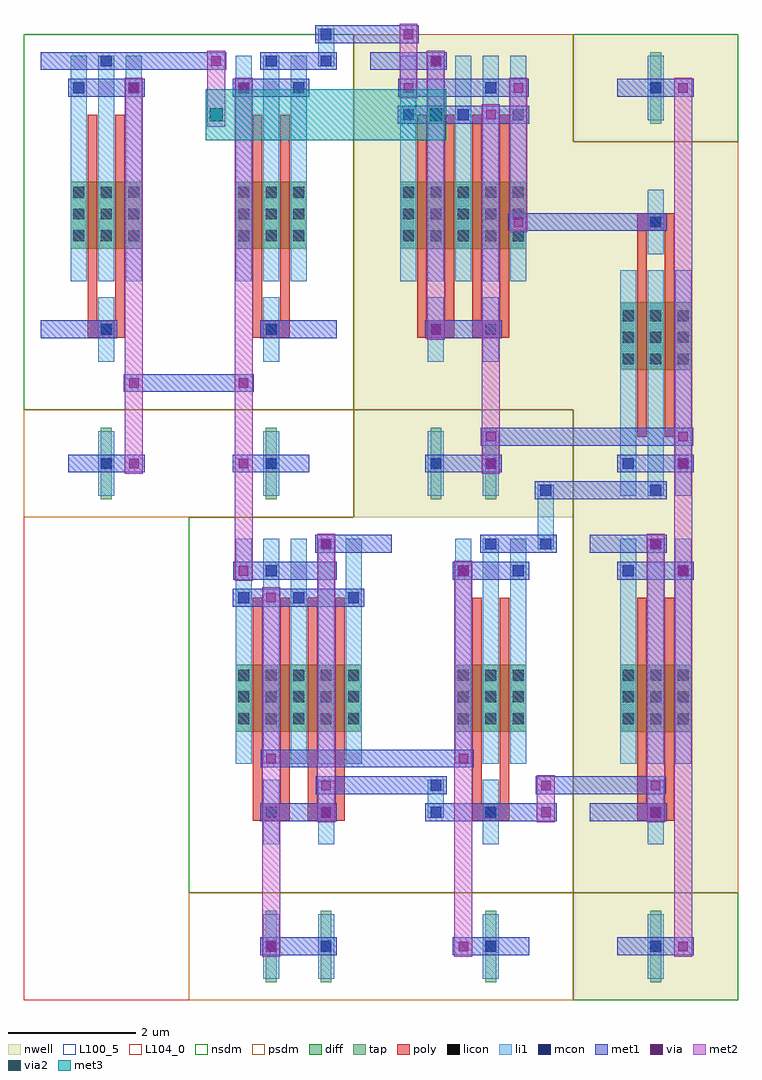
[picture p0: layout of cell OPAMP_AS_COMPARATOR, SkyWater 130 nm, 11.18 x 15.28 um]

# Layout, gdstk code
import gdstk
lib = gdstk.Library(unit=1e-6, precision=1e-09)
def R(c, l, rs):  # rectangles x0, y0, x1, y1
    for r in rs: c.add(gdstk.rectangle(r[:2], r[2:], *l))
def A(c, l, x, y, w, h, nx, ny, dx, dy):  # array of equal rectangles
    R(c, l, [(x+i*dx, y+j*dy, x+i*dx+w, y+j*dy+h) for i in range(nx) for j in range(ny)])
nwell = (64, 20)
diff = (65, 20)
tap = (65, 44)
poly = (66, 20)
licon = (66, 44)
li1 = (67, 20)
mcon = (67, 44)
met1 = (68, 20)
via = (68, 44)
met2 = (69, 20)
via2 = (69, 44)
met3 = (70, 20)
nsdm = (93, 44)
psdm = (94, 20)
L100_5 = (100, 5)
L104_0 = (104, 0)

opamp_as_comparator = lib.new_cell('OPAMP_AS_COMPARATOR')
R(opamp_as_comparator, nwell, [(8.6,0,11.18,7.56), (5.16,7.56,8.6,15.12), (8.6,7.56,11.18,15.12)])
R(opamp_as_comparator, diff, [(3.315,4.2,5.285,5.25), (6.755,4.2,7.865,5.25), (9.335,4.2,10.445,5.25), (9.335,9.87,10.445,10.92), (0.735,11.76,1.845,12.81), (3.315,11.76,4.425,12.81), (5.895,11.76,7.865,12.81)])
A(opamp_as_comparator, tap, 4.645, 0.28, 0.17, 1.12, 3, 1, 2.58, 0)
A(opamp_as_comparator, tap, 1.205, 7.84, 0.17, 1.12, 3, 1, 2.58, 0)
R(opamp_as_comparator, tap, [(3.785,0.28,3.955,1.4), (7.225,7.84,7.395,8.96), (9.805,13.72,9.975,14.84)])
A(opamp_as_comparator, poly, 4.44, 2.805, 0.58, 0.27, 3, 1, 2.58, 0)
A(opamp_as_comparator, poly, 3.58, 2.94, 0.15, 3.36, 4, 1, 0.43, 0)
A(opamp_as_comparator, poly, 1, 10.365, 0.58, 0.27, 3, 1, 2.58, 0)
A(opamp_as_comparator, poly, 6.16, 10.5, 0.15, 3.36, 4, 1, 0.43, 0)
R(opamp_as_comparator, poly, [(3.58,2.805,4.16,3.075), (7.02,2.94,7.17,6.3), (7.45,2.94,7.6,6.3), (9.6,2.94,9.75,6.3), (10.03,2.94,10.18,6.3), (9.6,8.82,9.75,12.18), (10.03,8.82,10.18,12.18), (7.02,10.365,7.6,10.635), (1,10.5,1.15,13.86), (1.43,10.5,1.58,13.86), (3.58,10.5,3.73,13.86), (4.01,10.5,4.16,13.86), (9.6,12.045,10.18,12.315)])
A(opamp_as_comparator, licon, 4.645, 0.755, 0.17, 0.17, 3, 2, 2.58, 2.1)
A(opamp_as_comparator, licon, 3.355, 4.32, 0.17, 0.17, 3, 3, 0.43, 0.34)
A(opamp_as_comparator, licon, 4.215, 4.32, 0.17, 0.17, 3, 3, 0.43, 0.34)
A(opamp_as_comparator, licon, 6.795, 4.32, 0.17, 0.17, 3, 3, 0.43, 0.34)
A(opamp_as_comparator, licon, 9.375, 4.32, 0.17, 0.17, 3, 3, 0.43, 0.34)
A(opamp_as_comparator, licon, 1.205, 8.315, 0.17, 0.17, 3, 2, 2.58, 2.1)
A(opamp_as_comparator, licon, 9.375, 9.95, 0.17, 0.17, 3, 3, 0.43, 0.34)
A(opamp_as_comparator, licon, 0.775, 11.88, 0.17, 0.17, 3, 3, 0.43, 0.34)
A(opamp_as_comparator, licon, 3.355, 11.88, 0.17, 0.17, 3, 3, 0.43, 0.34)
A(opamp_as_comparator, licon, 5.935, 11.88, 0.17, 0.17, 3, 3, 0.43, 0.34)
A(opamp_as_comparator, licon, 6.795, 11.88, 0.17, 0.17, 3, 3, 0.43, 0.34)
R(opamp_as_comparator, licon, [(3.785,0.755,3.955,0.925), (3.785,2.855,3.955,3.025), (7.225,8.315,7.395,8.485), (7.225,10.415,7.395,10.585), (9.805,12.095,9.975,12.265), (9.805,14.195,9.975,14.365)])
A(opamp_as_comparator, li1, 4.605, 0.335, 0.25, 1.01, 3, 2, 2.58, 2.1)
A(opamp_as_comparator, li1, 3.315, 3.695, 0.25, 3.53, 5, 1, 0.43, 0)
A(opamp_as_comparator, li1, 6.755, 3.695, 0.25, 3.53, 3, 1, 0.43, 0)
A(opamp_as_comparator, li1, 9.335, 3.695, 0.25, 3.53, 3, 2, 0.43, 4.2)
A(opamp_as_comparator, li1, 1.165, 7.895, 0.25, 1.01, 3, 2, 2.58, 2.1)
A(opamp_as_comparator, li1, 0.735, 11.255, 0.25, 3.53, 3, 1, 0.43, 0)
A(opamp_as_comparator, li1, 3.315, 11.255, 0.25, 3.53, 3, 1, 0.43, 0)
A(opamp_as_comparator, li1, 5.895, 11.255, 0.25, 3.53, 5, 1, 0.43, 0)
R(opamp_as_comparator, li1, [(3.745,0.335,3.995,1.345), (3.745,2.435,3.995,3.445), (6.325,2.855,6.575,3.445), (8.045,7.055,8.295,8.065), (7.185,7.895,7.435,8.905), (7.185,9.995,7.435,11.005), (9.765,11.675,10.015,12.685), (9.765,13.775,10.015,14.785), (4.605,14.615,4.855,15.205)])
A(opamp_as_comparator, mcon, 4.645, 0.755, 0.17, 0.17, 3, 1, 2.58, 0)
A(opamp_as_comparator, mcon, 3.355, 6.215, 0.17, 0.17, 3, 1, 0.86, 0)
A(opamp_as_comparator, mcon, 1.205, 8.315, 0.17, 0.17, 3, 2, 2.58, 2.1)
A(opamp_as_comparator, mcon, 5.935, 13.775, 0.17, 0.17, 3, 1, 0.86, 0)
R(opamp_as_comparator, mcon, [(3.785,0.755,3.955,0.925), (3.785,2.855,3.955,3.025), (4.645,2.855,4.815,3.025), (6.365,2.855,6.535,3.025), (7.225,2.855,7.395,3.025), (9.805,2.855,9.975,3.025), (6.365,3.275,6.535,3.445), (3.785,6.635,3.955,6.805), (6.795,6.635,6.965,6.805), (7.655,6.635,7.825,6.805), (9.375,6.635,9.545,6.805), (10.235,6.635,10.405,6.805), (4.645,7.055,4.815,7.225), (7.225,7.055,7.395,7.225), (8.085,7.055,8.255,7.225), (9.805,7.055,9.975,7.225), (8.085,7.895,8.255,8.065), (9.805,7.895,9.975,8.065), (7.225,8.315,7.395,8.485), (9.375,8.315,9.545,8.485), (10.235,8.315,10.405,8.485), (7.225,10.415,7.395,10.585), (9.805,12.095,9.975,12.265), (0.775,14.195,0.945,14.365), (1.635,14.195,1.805,14.365), (3.355,14.195,3.525,14.365), (4.215,14.195,4.385,14.365), (7.225,14.195,7.395,14.365), (9.805,14.195,9.975,14.365), (1.205,14.615,1.375,14.785), (3.785,14.615,3.955,14.785), (4.645,14.615,4.815,14.785), (6.365,14.615,6.535,14.785), (4.645,15.035,4.815,15.205)])
A(opamp_as_comparator, met1, 3.27, 8.26, 1.2, 0.28, 3, 1, 3.01, 0)
R(opamp_as_comparator, met1, [(3.7,0.7,4.9,0.98), (6.71,0.7,7.91,0.98), (9.29,0.7,10.49,0.98), (3.7,2.8,4.9,3.08), (6.28,2.8,8.34,3.08), (8.86,2.8,10.06,3.08), (4.57,3.22,6.62,3.5), (8.01,3.22,10.05,3.5), (3.71,3.64,7.04,3.92), (3.27,6.16,5.33,6.44), (3.28,6.58,4.9,6.86), (6.71,6.58,7.91,6.86), (9.29,6.58,10.49,6.86), (4.56,7,5.76,7.28), (7.14,7,8.34,7.28), (8.86,7,10.06,7.28), (8,7.84,10.06,8.12), (0.69,8.26,1.89,8.54), (7.15,8.68,10.48,8.96), (1.56,9.52,3.6,9.8), (0.26,10.36,1.46,10.64), (3.7,10.36,4.9,10.64), (6.28,10.36,7.48,10.64), (7.58,12.04,10.06,12.32), (5.85,13.72,7.91,14), (0.69,14.14,1.89,14.42), (3.27,14.14,4.47,14.42), (5.86,14.14,7.9,14.42), (9.29,14.14,10.49,14.42), (0.26,14.56,3.17,14.84), (3.7,14.56,4.9,14.84), (5.42,14.56,6.62,14.84), (4.56,14.98,6.18,15.26)])
A(opamp_as_comparator, via, 3.365, 6.645, 0.15, 0.15, 3, 1, 3.44, 0)
R(opamp_as_comparator, via, [(3.795,0.765,3.945,0.915), (6.805,0.765,6.955,0.915), (10.245,0.765,10.395,0.915), (4.655,2.865,4.805,3.015), (8.095,2.865,8.245,3.015), (9.815,2.865,9.965,3.015), (4.655,3.285,4.805,3.435), (8.095,3.285,8.245,3.435), (9.815,3.285,9.965,3.435), (3.795,3.705,3.945,3.855), (6.805,3.705,6.955,3.855), (3.795,6.225,3.945,6.375), (4.655,7.065,4.805,7.215), (9.815,7.065,9.965,7.215), (1.645,8.325,1.795,8.475), (3.365,8.325,3.515,8.475), (7.235,8.325,7.385,8.475), (10.245,8.325,10.395,8.475), (7.235,8.745,7.385,8.895), (10.245,8.745,10.395,8.895), (1.645,9.585,1.795,9.735), (3.365,9.585,3.515,9.735), (6.375,10.425,6.525,10.575), (7.665,12.105,7.815,12.255), (7.235,13.785,7.385,13.935), (1.645,14.205,1.795,14.355), (3.365,14.205,3.515,14.355), (5.945,14.205,6.095,14.355), (7.665,14.205,7.815,14.355), (10.245,14.205,10.395,14.355), (2.935,14.625,3.085,14.775), (6.375,14.625,6.525,14.775), (5.945,15.045,6.095,15.195)])
R(opamp_as_comparator, met2, [(3.73,0.68,4.01,6.46), (6.74,0.68,7.02,6.88), (10.18,0.68,10.46,14.44), (4.59,2.78,4.87,7.3), (8.03,2.78,8.31,3.52), (9.75,2.78,10.03,7.3), (3.3,6.56,3.58,14.44), (1.58,8.24,1.86,14.44), (7.17,8.24,7.45,14.02), (6.31,10.34,6.59,14.86), (7.6,12.02,7.88,14.44), (2.87,13.675,3.15,14.86), (5.88,14.12,6.16,15.28)])
R(opamp_as_comparator, via2, [(2.91,13.76,3.11,13.96), (6.35,13.76,6.55,13.96)])
R(opamp_as_comparator, met3, [(2.845,13.46,6.615,14.26)])
R(opamp_as_comparator, nsdm, [(8.6,0,11.18,1.68), (2.58,1.68,6.02,7.56), (6.02,1.68,8.6,7.56), (5.16,7.56,8.6,9.24), (0,9.24,2.58,15.12), (2.58,9.24,5.16,15.12), (8.6,13.44,11.18,15.12)])
R(opamp_as_comparator, psdm, [(2.58,0,6.02,1.68), (6.02,0,8.6,1.68), (8.6,1.68,11.18,7.56), (0,7.56,2.58,9.24), (2.58,7.56,5.16,9.24), (8.6,7.56,11.18,13.44), (5.16,9.24,8.6,15.12)])
R(opamp_as_comparator, L100_5, [(0,0,11.18,15.12)])
R(opamp_as_comparator, L104_0, [(0,0,11.18,15.12)])

lib.write_gds('OPAMP_AS_COMPARATOR.gds')
